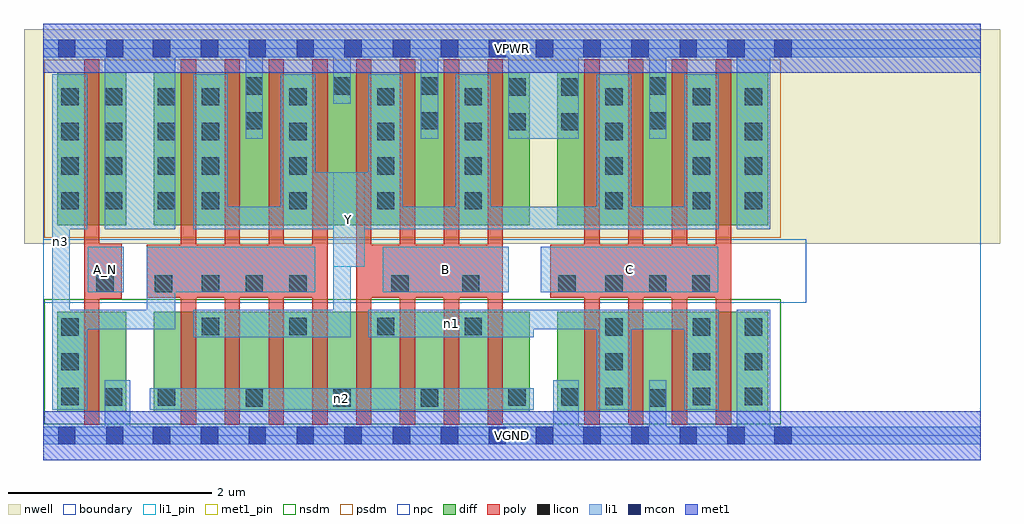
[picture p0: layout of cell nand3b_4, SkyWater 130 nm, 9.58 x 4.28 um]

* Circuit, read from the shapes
.subckt nand3b_4 A_N B C VGND VPWR Y n1 n2 n3
XM1 VGND A_N n3 VSUBS sky130_fd_pr__nfet_01v8 w=0.98 l=0.15
XM2 Y n3 n2 VSUBS sky130_fd_pr__nfet_01v8 w=0.98 l=0.15 m=4
XM3 n1 B n2 VSUBS sky130_fd_pr__nfet_01v8 w=0.98 l=0.15 m=4
XM4 n1 C VGND VSUBS sky130_fd_pr__nfet_01v8 w=0.98 l=0.15 m=4
XM5 VPWR A_N n3 n4 sky130_fd_pr__pfet_01v8 w=1.5 l=0.15
XM6 Y n3 VPWR n4 sky130_fd_pr__pfet_01v8 w=1.5 l=0.15 m=4
XM7 Y B VPWR n4 sky130_fd_pr__pfet_01v8 w=1.5 l=0.15 m=4
XM8 Y C VPWR n4 sky130_fd_pr__pfet_01v8 w=1.5 l=0.15 m=4
.ends

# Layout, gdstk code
import gdstk
lib = gdstk.Library(unit=1e-6, precision=1e-09)
def R(c, l, rs):  # rectangles x0, y0, x1, y1
    for r in rs: c.add(gdstk.rectangle(r[:2], r[2:], *l))
def A(c, l, x, y, w, h, nx, ny, dx, dy):  # array of equal rectangles
    R(c, l, [(x+i*dx, y+j*dy, x+i*dx+w, y+j*dy+h) for i in range(nx) for j in range(ny)])
nwell = (64, 20)
diff = (65, 20)
poly = (66, 20)
licon = (66, 44)
li1_pin = (67, 16)
li1 = (67, 20)
mcon = (67, 44)
met1_pin = (68, 16)
met1 = (68, 20)
nsdm = (93, 44)
psdm = (94, 20)
npc = (95, 20)
boundary = (235, 4)

nand3b_4 = lib.new_cell('nand3b_4')
R(nand3b_4, nwell, [(-0.19,1.885,9.39,3.99), (0,1.885,9.2,3.99)])
R(nand3b_4, diff, [(0.135,0.235,0.815,1.215), (1.085,0.235,4.775,1.215), (5.045,0.235,7.115,1.215), (0.135,2.065,0.815,3.565), (1.085,2.065,4.775,3.565), (5.045,2.065,7.115,3.565)])
A(nand3b_4, poly, 1.35, 0.105, 0.15, 3.59, 8, 1, 0.43, 0)
A(nand3b_4, poly, 5.31, 0.105, 0.15, 3.59, 4, 1, 0.43, 0)
R(nand3b_4, poly, [(0.4,0.105,0.55,3.695), (0.4,1.345,0.77,1.885), (1.015,1.355,2.79,1.875), (3.07,1.355,4.51,1.875), (4.975,1.355,6.75,1.875)])
A(nand3b_4, licon, 1.985, 0.285, 0.17, 0.17, 3, 2, 0.86, 3.06)
A(nand3b_4, licon, 0.175, 0.3, 0.17, 0.17, 1, 3, 0, 0.34)
A(nand3b_4, licon, 5.515, 0.3, 0.17, 0.17, 1, 3, 0, 0.34)
A(nand3b_4, licon, 6.375, 0.3, 0.17, 0.17, 1, 3, 0, 0.34)
A(nand3b_4, licon, 6.885, 0.3, 0.17, 0.17, 1, 3, 0, 0.34)
A(nand3b_4, licon, 1.555, 0.985, 0.17, 0.17, 4, 2, 0.86, 1.235)
A(nand3b_4, licon, 1.555, 1.405, 0.17, 0.17, 3, 1, 0.43, 0)
A(nand3b_4, licon, 0.175, 2.22, 0.17, 0.17, 1, 4, 0, 0.34)
A(nand3b_4, licon, 0.605, 2.22, 0.17, 0.17, 1, 4, 0, 0.34)
A(nand3b_4, licon, 1.125, 2.22, 0.17, 0.17, 1, 4, 0, 0.34)
A(nand3b_4, licon, 5.515, 2.22, 0.17, 0.17, 1, 4, 0, 0.34)
A(nand3b_4, licon, 6.375, 2.22, 0.17, 0.17, 1, 4, 0, 0.34)
A(nand3b_4, licon, 6.885, 2.22, 0.17, 0.17, 1, 4, 0, 0.34)
A(nand3b_4, licon, 1.555, 2.56, 0.17, 0.17, 4, 3, 0.86, 0.34)
R(nand3b_4, licon, [(5.945,0.285,6.115,0.455), (0.605,0.295,0.775,0.465), (1.125,0.295,1.295,0.465), (4.565,0.295,4.735,0.465), (5.085,0.295,5.255,0.465), (0.52,1.405,0.69,1.575), (1.095,1.405,1.265,1.575), (3.415,1.405,3.585,1.575), (4.11,1.405,4.28,1.575), (5.055,1.405,5.225,1.575), (5.515,1.405,5.685,1.575), (5.945,1.405,6.115,1.575), (6.37,1.405,6.54,1.575), (4.565,2.995,4.735,3.165), (5.085,2.995,5.255,3.165), (1.985,3.005,2.155,3.175), (3.705,3.005,3.875,3.175), (5.945,3.005,6.115,3.175), (4.565,3.335,4.735,3.505), (5.085,3.335,5.255,3.505), (5.945,3.345,6.115,3.515)])
R(nand3b_4, li1_pin, [(0.435,1.405,0.79,1.855), (3.33,1.405,4.57,1.855), (4.88,1.405,6.625,1.855), (2.845,1.655,3.155,2.585)])
A(nand3b_4, li1, 1.47, 2.025, 0.34, 1.52, 4, 1, 0.86, 0)
R(nand3b_4, li1, [(0,-0.085,9.2,0.085), (0.605,-0.085,0.855,0.545), (5.005,-0.085,5.255,0.545), (5.945,-0.085,6.115,0.545), (6.805,-0.085,7.135,1.235), (0.085,0.255,0.26,3.545), (0.085,0.255,0.43,1.235), (1.045,0.255,4.815,0.465), (5.43,0.255,5.77,1.235), (6.29,0.255,6.63,1.235), (1.47,0.965,3.015,1.235), (2.845,0.965,3.015,2.585), (3.19,0.965,4.815,1.235), (0.085,1.045,1.295,1.235), (1.015,1.045,1.295,1.855), (3.19,1.045,6.63,1.235), (0.435,1.405,0.79,1.855), (1.015,1.405,2.67,1.855), (3.33,1.405,4.57,1.855), (4.88,1.405,6.625,1.855), (2.845,1.655,3.155,2.585), (0.085,2.025,0.43,3.545), (0.605,2.025,1.295,3.885), (1.47,2.025,6.63,2.245), (2.33,2.025,3.53,2.585), (5.43,2.025,5.77,3.545), (6.29,2.025,6.63,3.545), (6.805,2.025,7.135,3.885), (1.985,2.915,2.155,3.885), (3.705,2.915,3.875,3.885), (4.565,2.915,5.255,3.885), (5.945,2.915,6.115,3.885), (2.845,3.255,3.015,3.885), (0,3.715,9.2,3.885)])
A(nand3b_4, mcon, 1.075, -0.085, 0.17, 0.17, 5, 2, 0.47, 3.8)
A(nand3b_4, mcon, 3.43, -0.085, 0.17, 0.17, 3, 2, 0.47, 3.8)
R(nand3b_4, mcon, [(0.145,-0.085,0.315,0.085), (0.615,-0.085,0.785,0.085), (4.835,-0.085,5.005,0.085), (5.3,-0.085,5.47,0.085), (5.77,-0.085,5.94,0.085), (6.245,-0.085,6.415,0.085), (6.715,-0.085,6.885,0.085), (7.175,-0.085,7.345,0.085), (0.145,3.715,0.315,3.885), (0.615,3.715,0.785,3.885), (4.835,3.715,5.005,3.885), (5.3,3.715,5.47,3.885), (5.77,3.715,5.94,3.885), (6.245,3.715,6.415,3.885), (6.715,3.715,6.885,3.885), (7.175,3.715,7.345,3.885)])
R(nand3b_4, met1_pin, [(0,-0.24,9.2,0.24), (0,3.56,9.2,4.04)])
R(nand3b_4, met1, [(0,-0.24,9.2,0.24), (0,3.56,9.2,4.04)])
R(nand3b_4, nsdm, [(0.01,0.11,7.24,1.34)])
R(nand3b_4, psdm, [(0.01,1.94,7.24,3.69)])
R(nand3b_4, npc, [(0,1.305,7.49,1.925)])
R(nand3b_4, boundary, [(0,0,9.2,3.8)])
nand3b_4.add(gdstk.Label('A_N', (0.612,1.63), layer=67, texttype=5))
nand3b_4.add(gdstk.Label('B', (3.95,1.63), layer=67, texttype=5))
nand3b_4.add(gdstk.Label('C', (5.752,1.63), layer=67, texttype=5))
nand3b_4.add(gdstk.Label('Y', (3,2.12), layer=67, texttype=5))
nand3b_4.add(gdstk.Label('n2', (2.93,0.36), layer=67, texttype=5))
nand3b_4.add(gdstk.Label('n1', (4.002,1.1), layer=67, texttype=5))
nand3b_4.add(gdstk.Label('n3', (0.172,1.9), layer=67, texttype=5))
nand3b_4.add(gdstk.Label('VPWR', (4.6,3.8), layer=68, texttype=5))
nand3b_4.add(gdstk.Label('VGND', (4.6,0), layer=68, texttype=5))
nand3b_4.add(gdstk.Label('A_N', (0.612,1.63), layer=67, texttype=16))
nand3b_4.add(gdstk.Label('B', (3.95,1.63), layer=67, texttype=16))
nand3b_4.add(gdstk.Label('C', (5.752,1.63), layer=67, texttype=16))
nand3b_4.add(gdstk.Label('Y', (3,2.12), layer=67, texttype=16))
nand3b_4.add(gdstk.Label('VPWR', (4.6,3.8), layer=68, texttype=16))
nand3b_4.add(gdstk.Label('VGND', (4.6,0), layer=68, texttype=16))

lib.write_gds('nand3b_4.gds')
